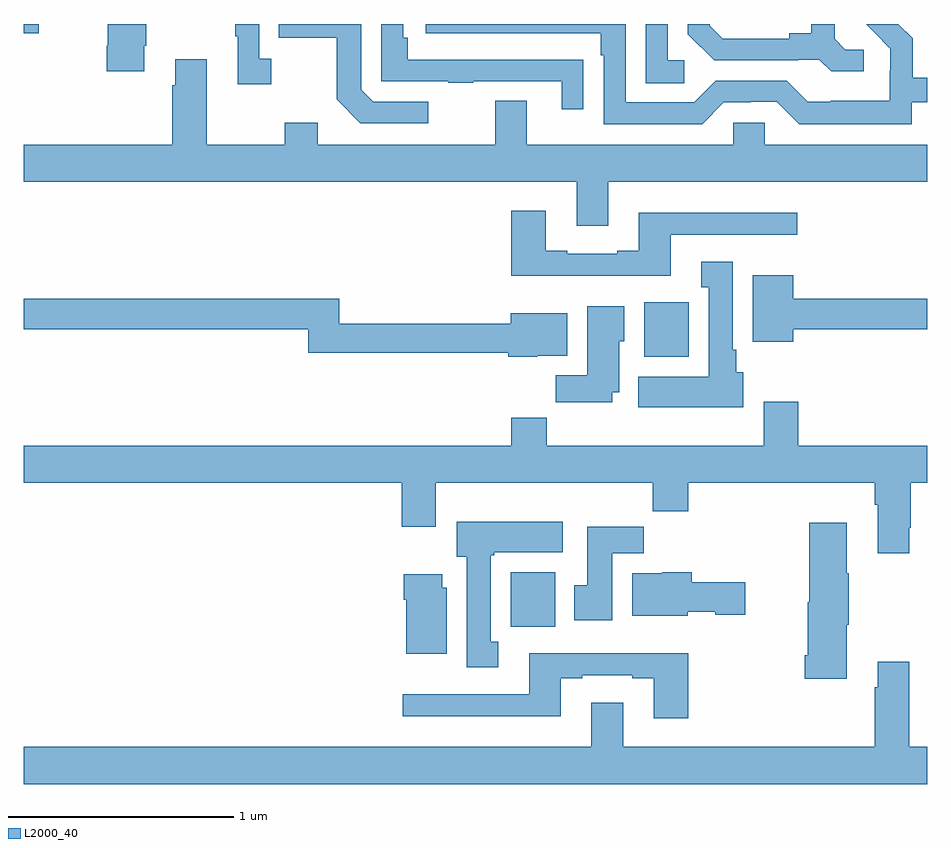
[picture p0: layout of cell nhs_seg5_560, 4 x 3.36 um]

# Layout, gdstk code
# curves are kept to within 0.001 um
import gdstk
lib = gdstk.Library(unit=1e-6, precision=1e-09)
def R(c, l, rs):  # rectangles x0, y0, x1, y1
    for r in rs: c.add(gdstk.rectangle(r[:2], r[2:], *l))
def P(c, l, *ps):  # polygons
    for p in ps: c.add(gdstk.Polygon(p, *l))
L2000_40 = (2000, 40)

nhs_seg5_560 = lib.new_cell('nhs_seg5_560')
R(nhs_seg5_560, L2000_40, [(149.156,848.132,149.353,848.374), (149.747,849.326,149.944,849.568), (147,850.757,147.067,850.799)])
P(nhs_seg5_560, L2000_40, [(148.792,850.455),(148.548,850.455),(148.494,850.509),(148.494,850.799),(148.129,850.799),(148.129,850.738),(148.386,850.738),(148.386,850.465),(148.491,850.359),(148.792,850.359)],
  [(149.923,850.638),(149.85,850.638),(149.85,850.799),(149.754,850.799),(149.754,850.537),(149.923,850.537)],
  [(149.477,850.64),(149.375,850.64),(149.375,850.641),(148.7,850.641),(148.7,850.738),(148.68,850.738),(148.68,850.799),(148.584,850.799),(148.584,850.545),(148.879,850.545),(148.879,850.54),(148.991,850.54),(148.991,850.545),(149.381,850.545),(149.381,850.422),(149.477,850.422)],
  [(150.93,850.452),(151,850.452),(151,850.561),(150.935,850.561),(150.935,850.735),(150.871,850.799),(150.729,850.799),(150.836,850.69),(150.836,850.593),(150.834,850.593),(150.834,850.459),(150.571,850.459),(150.571,850.455),(150.471,850.455),(150.378,850.548),(150.063,850.548),(149.967,850.452),(149.664,850.452),(149.664,850.799),(148.779,850.799),(148.779,850.758),(149.555,850.758),(149.555,850.661),(149.568,850.661),(149.568,850.356),(150.003,850.356),(150.099,850.452),(150.218,850.452),(150.218,850.455),(150.333,850.455),(150.433,850.355),(150.93,850.355)],
  [(150.718,850.686),(150.636,850.686),(150.589,850.733),(150.589,850.799),(150.485,850.799),(150.485,850.757),(150.389,850.757),(150.389,850.734),(150.094,850.734),(150.037,850.791),(150.037,850.799),(149.94,850.799),(149.94,850.754),(150.056,850.638),(150.428,850.638),(150.428,850.641),(150.522,850.641),(150.574,850.589),(150.718,850.589)],
  [(147.535,850.702),(147.543,850.702),(147.543,850.799),(147.373,850.799),(147.373,850.702),(147.368,850.702),(147.368,850.59),(147.535,850.59)],
  [(148.096,850.646),(148.044,850.646),(148.044,850.799),(147.936,850.799),(147.936,850.745),(147.947,850.745),(147.947,850.533),(148.096,850.533)],
  [(149.587,850.1),(151,850.1),(151,850.264),(150.279,850.264),(150.279,850.362),(150.141,850.362),(150.141,850.264),(149.227,850.264),(149.227,850.459),(149.087,850.459),(149.087,850.264),(148.303,850.264),(148.303,850.363),(148.156,850.363),(148.156,850.264),(147.811,850.264),(147.811,850.642),(147.671,850.642),(147.671,850.529),(147.659,850.529),(147.659,850.264),(147,850.264),(147,850.1),(149.447,850.1),(149.447,849.906),(149.587,849.906)],
  [(149.863,849.867),(150.424,849.867),(150.424,849.964),(149.723,849.964),(149.723,849.796),(149.627,849.796),(149.627,849.783),(149.407,849.783),(149.407,849.796),(149.311,849.796),(149.311,849.973),(149.159,849.973),(149.159,849.686),(149.863,849.686)],
  [(150.184,849.258),(150.154,849.258),(150.154,849.358),(150.139,849.358),(150.139,849.748),(149.999,849.748),(149.999,849.635),(150.032,849.635),(150.032,849.238),(149.72,849.238),(149.72,849.104),(150.184,849.104)],
  [(150.406,849.448),(151,849.448),(151,849.584),(150.406,849.584),(150.406,849.688),(150.227,849.688),(150.227,849.392),(150.406,849.392)],
  [(149.274,849.332),(149.407,849.332),(149.407,849.52),(149.156,849.52),(149.156,849.473),(148.397,849.473),(148.397,849.584),(147,849.584),(147,849.448),(148.261,849.448),(148.261,849.345),(149.144,849.345),(149.144,849.326),(149.274,849.326)],
  [(149.605,849.17),(149.635,849.17),(149.635,849.396),(149.659,849.396),(149.659,849.55),(149.495,849.55),(149.495,849.244),(149.356,849.244),(149.356,849.126),(149.605,849.126)],
  [(150.919,848.569),(150.927,848.569),(150.927,848.768),(151,848.768),(151,848.932),(150.428,848.932),(150.428,849.127),(150.275,849.127),(150.275,848.932),(149.315,848.932),(149.315,849.056),(149.159,849.056),(149.159,848.932),(147,848.932),(147,848.768),(148.673,848.768),(148.673,848.574),(148.825,848.574),(148.825,848.768),(149.785,848.768),(149.785,848.644),(149.942,848.644),(149.942,848.768),(150.767,848.768),(150.767,848.672),(150.779,848.672),(150.779,848.457),(150.919,848.457)],
  [(149.101,848.066),(149.068,848.066),(149.068,848.449),(149.082,848.449),(149.082,848.462),(149.386,848.462),(149.386,848.596),(148.916,848.596),(148.916,848.442),(148.961,848.442),(148.961,847.953),(149.101,847.953)],
  [(150.643,848.141),(150.651,848.141),(150.651,848.369),(150.643,848.369),(150.643,848.593),(150.476,848.593),(150.476,848.241),(150.47,848.241),(150.47,848.005),(150.458,848.005),(150.458,847.901),(150.643,847.901)],
  [(149.605,848.456),(149.744,848.456),(149.744,848.575),(149.495,848.575),(149.495,848.316),(149.438,848.316),(149.438,848.16),(149.605,848.16)],
  [(149.94,848.198),(150.06,848.198),(150.06,848.186),(150.193,848.186),(150.193,848.328),(149.957,848.328),(149.957,848.374),(149.826,848.374),(149.826,848.368),(149.693,848.368),(149.693,848.18),(149.94,848.18)],
  [(148.873,848.304),(148.852,848.304),(148.852,848.365),(148.682,848.365),(148.682,848.252),(148.694,848.252),(148.694,848.012),(148.873,848.012)],
  [(149.942,848.014),(149.237,848.014),(149.237,847.833),(148.677,847.833),(148.677,847.736),(149.377,847.736),(149.377,847.905),(149.473,847.905),(149.473,847.917),(149.693,847.917),(149.693,847.905),(149.789,847.905),(149.789,847.728),(149.942,847.728)],
  [(151,847.6),(150.919,847.6),(150.919,847.978),(150.779,847.978),(150.779,847.865),(150.767,847.865),(150.767,847.6),(149.653,847.6),(149.653,847.795),(149.513,847.795),(149.513,847.6),(147,847.6),(147,847.436),(151,847.436)])

lib.write_gds('nhs_seg5_560.gds')
